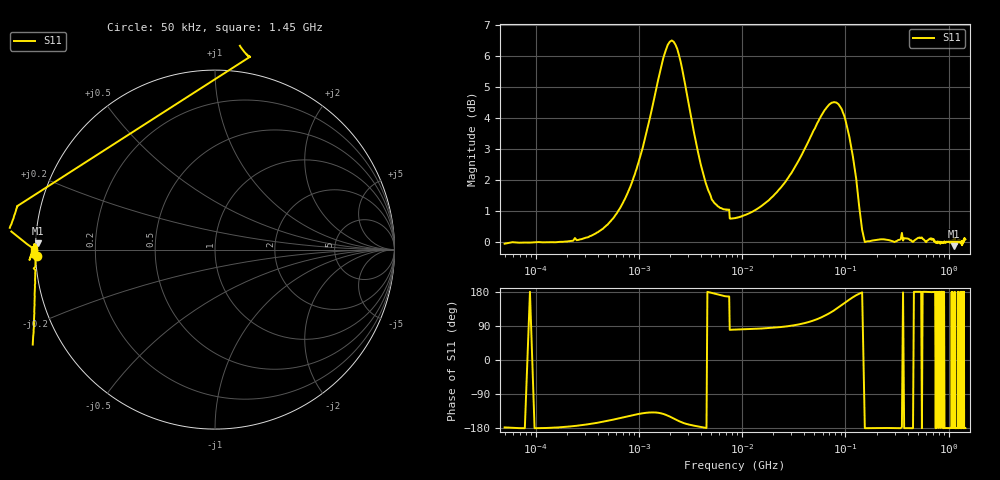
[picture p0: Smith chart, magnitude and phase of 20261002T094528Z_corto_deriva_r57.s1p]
! piloto_deriva / corto_deriva / r57
# HZ S RI R 50
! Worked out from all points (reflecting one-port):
!   501 points, 50 kHz to 1.45 GHz, reference 50 ohm
!   lowest |S11| = -0.1 dB at 1.126 GHz (marker M1), VSWR 134.37, Z = 0.372 + j0.909 ohm
!   phase of S11 starts at -178 deg and turns -2 deg over the sweep
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50000  -0.9936 -0.0371
183000  -0.9999 -0.0524
363500  -1.004 -0.2248
658000  -1.014 -0.5112
1180000  -1.138 -0.9801
1630000  -1.476 -1.211
1990000  -1.81 -1.078
2170000  -1.9 -0.9087
2440000  -1.899 -0.6421
3070000  -1.631 -0.2701
4330000  -1.263 -0.0305
7300000  -1.102 0.2415
7750000  0.1944 1.074
8560000  0.1866 1.077
1.99e7  0.1004 1.182
3.16e7  -0.0354 1.312
4.69e7  -0.3237 1.453
6.76e7  -0.8594 1.418
7.93e7  -1.139 1.237
9.37e7  -1.353 0.8996
9.82e7  -1.385 0.784
1e8  -1.39 0.7385
1.18e8  -1.332 0.3399
1.36e8  -1.135 0.1007
1.63e8  -1.003 -0.00321
4.06e8  -1.013 -0.00504
1.126e9  -0.9846 0.0358
1.45e9  -1.01 -0.00405
